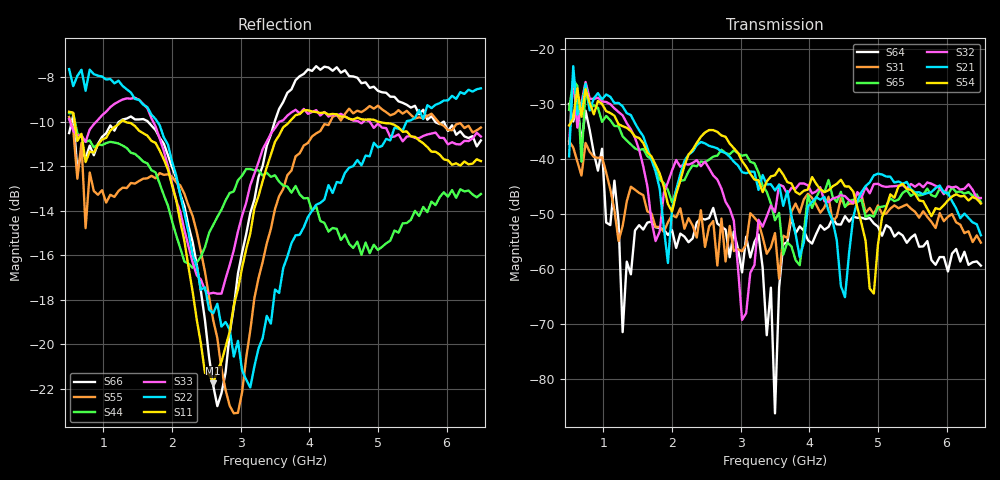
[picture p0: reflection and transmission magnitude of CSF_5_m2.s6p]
!Keysight Technologies,M9804A,MY58100912,A.14.10.03
!Date: Thursday, April 27, 2023 10:28:33
!Correction: S11(C  6-Port  )
!S12(C  6-Port  )
!S13(C  6-Port  )
!S14(C  6-Port  )
!S15(C  6-Port  )
!S16(C  6-Port  )
!S21(C  6-Port  )
!S22(C  6-Port  )
!S23(C  6-Port  )
!S24(C  6-Port  )
!S25(C  6-Port  )
!S26(C  6-Port  )
!S31(C  6-Port  )
!S32(C  6-Port  )
!S33(C  6-Port  )
!S34(C  6-Port  )
!S35(C  6-Port  )
!S36(C  6-Port  )
!S41(C  6-Port  )
!S42(C  6-Port  )
!S43(C  6-Port  )
!S44(C  6-Port  )
!S45(C  6-Port  )
!S46(C  6-Port  )
!S51(C  6-Port  )
!S52(C  6-Port  )
!S53(C  6-Port  )
!S54(C  6-Port  )
!S55(C  6-Port  )
!S56(C  6-Port  )
!S61(C  6-Port  )
!S62(C  6-Port  )
!S63(C  6-Port  )
!S64(C  6-Port  )
!S65(C  6-Port  )
!S66(C  6-Port  )
!S6P File: Measurement: :
# Hz S  RI  R 50
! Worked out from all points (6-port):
!   101 points, 500 MHz to 6.5 GHz, reference 50 ohm
!   strongest paths, dB at 500 MHz, 2 GHz, 3.5 GHz, 5 GHz, 6.5 GHz:
!     S54: -33.9, -49.5, -42.9, -55.5, -48.1
!     S21: -39.5, -49.0, -45.7, -42.6, -53.8
!     S32: -37.3, -42.0, -49.6, -44.5, -47.1
!     S65: -31.0, -47.8, -51.1, -48.8, -47.9
!     S31: -36.7, -50.2, -53.4, -48.4, -55.2
!     S64: -30.0, -52.9, -86.2, -52.2, -59.3
!   lowest |S11| = -21.7 dB at 2.6 GHz (marker M1), VSWR 1.18, Z = 42.7 + j2 ohm
!   |S11| at or under -10 dB: 579 MHz to 1.258 GHz (679.4 MHz wide, 74 % of centre); 1.318 GHz to 3.713 GHz (2.395 GHz wide, 95.2 % of centre); 4.999 GHz to end of sweep
